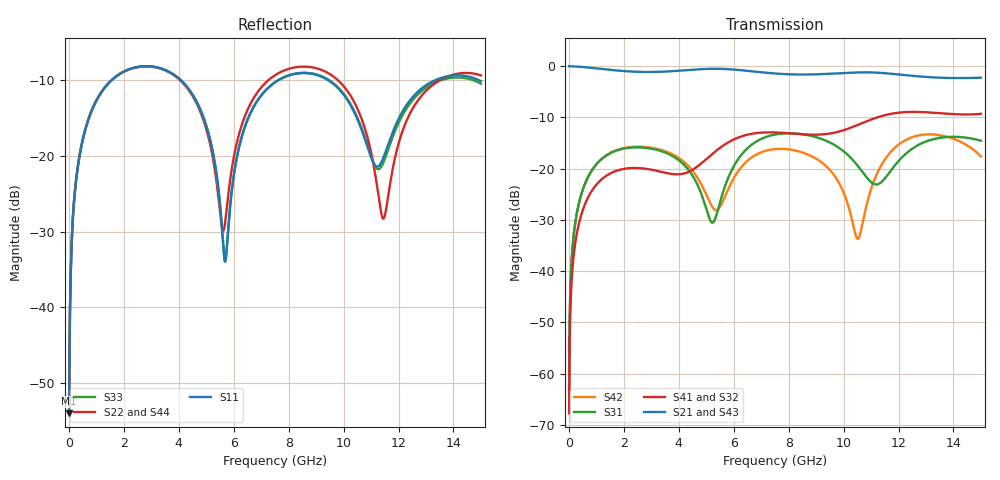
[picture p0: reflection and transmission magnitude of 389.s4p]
! Created with skrf 1.8.0 (http://scikit-rf.org).
# GHz S RI R 50.0
!freq ReS11 ImS11 ReS12 ImS12 ReS13 ImS13
! ReS14 ImS14
! ReS21 ImS21 ReS22 ImS22 ReS23 ImS23
! ReS24 ImS24
! ReS31 ImS31 ReS32 ImS32 ReS33 ImS33
! ReS34 ImS34
! ReS41 ImS41 ReS42 ImS42 ReS43 ImS43
! ReS44 ImS44
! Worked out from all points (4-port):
!   2499 points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, 5 MHz to 15 GHz, reference 50 ohm
!   strongest paths, dB at 5 MHz, 3.476 GHz, 7.19 GHz, 11.1 GHz, 15 GHz:
!     S21: 0.0, -1.1, -1.3, -1.3, -2.3
!     S43: 0.0, -1.1, -1.3, -1.3, -2.2
!     S41: -67.8, -20.8, -12.9, -10.2, -9.3
!     S32: -67.8, -20.8, -12.9, -10.2, -9.3
!     S31: -63.7, -16.8, -13.8, -23.0, -14.6
!     S42: -63.7, -16.6, -16.5, -22.5, -17.6
!   lowest |S11| = -54.0 dB at 5 MHz (marker M1), VSWR 1.00, Z = 50.2 + j0.121 ohm
!   |S11| at or under -10 dB: start of sweep to 1.547 GHz; 4.074 GHz to 7.621 GHz (3.547 GHz wide, 60.7 % of centre); 9.444 GHz to 13.33 GHz (3.884 GHz wide, 34.1 % of centre) (the widest 3 of 4)
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0.005  0.00159 0.0012  0.9984 -0.00309  8e-05 0.000646  -7.77e-05 -0.000402
       0.9984 -0.00309  0.00159 0.0012  -7.77e-05 -0.000402  8.01e-05 0.000646
       8e-05 0.000646  -7.77e-05 -0.000402  0.00159 0.0012  0.9984 -0.00309
       -7.77e-05 -0.000402  8.01e-05 0.000646  0.9984 -0.00309  0.00159 0.0012
0.3126303  0.0228 0.0794  0.969 -0.1923  0.0105 0.0385  -0.00882 -0.0237
           0.969 -0.1923  0.0227 0.0794  -0.00882 -0.0237  0.0107 0.0385
           0.0105 0.0385  -0.00882 -0.0237  0.0228 0.0794  0.969 -0.1924
           -0.00882 -0.0237  0.0107 0.0385  0.969 -0.1924  0.0227 0.0794
1.569404  0.2633 0.18  0.564 -0.7207  0.1274 0.0676  -0.0911 -0.00852
          0.564 -0.7207  0.2624 0.1804  -0.0911 -0.00851  0.1304 0.0636
          0.1274 0.0676  -0.0911 -0.00851  0.2633 0.18  0.5639 -0.7207
          -0.0911 -0.00852  0.1304 0.0636  0.5639 -0.7207  0.2625 0.1804
5.508545  0.0225 -0.0396  -0.9288 -0.1473  0.0369 0.0303  -0.0215 0.1586
          -0.9288 -0.1473  0.033 -0.0249  -0.0213 0.1586  -0.039 0.0178
          0.0369 0.0303  -0.0213 0.1586  0.0228 -0.0404  -0.9288 -0.1472
          -0.0215 0.1586  -0.039 0.0178  -0.9288 -0.1472  0.033 -0.0257
8.841184  0.3484 -0.0206  0.0258 0.8286  0.1346 -0.1585  0.2035 -0.0671
          0.0258 0.8286  0.3792 -0.0686  0.2034 -0.0672  0.1297 -0.0235
          0.1346 -0.1585  0.2034 -0.0672  0.3503 -0.023  0.0266 0.8278
          0.2035 -0.0671  0.1297 -0.0235  0.0266 0.8278  0.3814 -0.0674
11.44852  0.0899 0.0375  0.8506 0.0852  -0.0352 0.0687  0.0239 -0.3282
          0.8506 0.0852  0.0383 -0.00354  0.0238 -0.3291  0.0535 0.1035
          -0.0352 0.0687  0.0238 -0.3291  0.0855 0.0294  0.8507 0.0859
          0.0239 -0.3282  0.0535 0.1035  0.8507 0.0859  0.0439 -0.0108
15  0.2997 -0.0856  -0.1282 -0.7601  0.0605 -0.1768  -0.3261 0.1039
    -0.1282 -0.7601  0.3294 -0.0863  -0.3257 0.1061  0.0832 -0.1015
    0.0605 -0.1768  -0.3257 0.1061  0.2888 -0.0813  -0.1347 -0.7628
    -0.3261 0.1039  0.0832 -0.1015  -0.1347 -0.7628  0.3181 -0.0907
